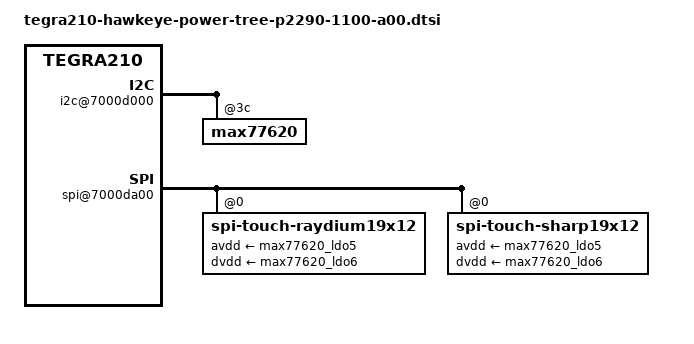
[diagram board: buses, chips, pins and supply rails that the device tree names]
/*
 * Copyright (c) 2014-2015, NVIDIA CORPORATION.  All rights reserved.
 *
 * This program is free software; you can redistribute it and/or modify
 * it under the terms of the GNU General Public License as published by
 * the Free Software Foundation; either version 2 of the License, or
 * (at your option) any later version.
 *
 * This program is distributed in the hope that it will be useful, but WITHOUT
 * ANY WARRANTY; without even the implied warranty of MERCHANTABILITY or
 * FITNESS FOR A PARTICULAR PURPOSE.  See the GNU General Public License for
 * more details.
 */

#include "tegra210-hawkeye-pmic-p2290-1100-a00.dtsi"
#include "tegra210-hawkeye-fixed-p2290-1100-a00.dtsi"
#include "tegra210-ers-power-dvfs-e2174-1101-a00.dtsi"

/ {

	dfll-ovr@70110000 {
		status = "disabled";
	};

	dfll-max77621@70110000 {
		status = "okay";
	};

	pwm_regulators {
		pwm-regulator@0 {
			status = "disabled";
		};

		pwm-regulator@1 {
			status = "disabled";
		};
	};

	i2c@7000d000 {
		max77620@3c {
			regulators {
				ldo0 {
					regulator-enable-ramp-delay = <78>;
					regulator-disable-ramp-delay = <2280>;
					regulator-ramp-delay = <100000>;
					regulator-ramp-delay-scale = <650>;
				};

				ldo2 {
					regulator-enable-ramp-delay = <200>;
					regulator-disable-ramp-delay = <3300>;
					regulator-ramp-delay = <100000>;
					regulator-ramp-delay-scale = <600>;
				};

				ldo3 {
					regulator-enable-ramp-delay = <156>;
					regulator-disable-ramp-delay = <5430>;
					regulator-ramp-delay = <100000>;
					regulator-ramp-delay-scale = <550>;
				};

				ldo4 {
					regulator-enable-ramp-delay = <20>;
					regulator-disable-ramp-delay = <390>;
					regulator-ramp-delay = <100000>;
					regulator-ramp-delay-scale = <200>;
				};

				ldo5 {
					regulator-enable-ramp-delay = <440>;
					regulator-disable-ramp-delay = <7650>;
					regulator-ramp-delay = <100000>;
					regulator-ramp-delay-scale = <1400>;
				};

				ldo6 {
					regulator-enable-ramp-delay = <162>;
					regulator-disable-ramp-delay = <4500>;
					regulator-ramp-delay = <100000>;
					regulator-ramp-delay-scale = <900>;
				};

				ldo7 {
					regulator-enable-ramp-delay = <74>;
					regulator-disable-ramp-delay = <7125>;
					regulator-ramp-delay = <100000>;
					regulator-ramp-delay-scale = <700>;
				};

				ldo8 {
					regulator-enable-ramp-delay = <26>;
					regulator-disable-ramp-delay = <1575>;
					regulator-ramp-delay = <100000>;
					regulator-ramp-delay-scale = <250>;
				};
			};
		};
	};

	regulators {
		regulator@4 {
			regulator-enable-ramp-delay = <1300>;
			regulator-disable-ramp-delay = <2800>;
		};

		regulator@3 {
			regulator-enable-ramp-delay = <160>;
			regulator-disable-ramp-delay = <2000>;
		};

		regulator@5 {
			regulator-enable-ramp-delay = <200>;
			regulator-disable-ramp-delay = <2800>;
		};

		regulator@6 {
			regulator-enable-ramp-delay = <1400>;
		};

		regulator@9 {
			regulator-enable-ramp-delay = <500>;
			regulator-disable-ramp-delay = <4500>;
		};

		regulator@12 {
			regulator-enable-ramp-delay = <200>;
			regulator-disable-ramp-delay = <8000>;
		};

		regulator@13 {
			regulator-enable-ramp-delay = <600>;
			regulator-disable-ramp-delay = <3000>;
		};
	};

	dvfs_rails {
		vdd-cpu-rail-ovr@0 {
			status = "disabled";
		};

		vdd-gpu-rail-ovr@1 {
			status = "disabled";
		};

		vdd-cpu-rail-max77621@2 {
			status = "okay";
		};

		vdd-gpu-rail-max77621@3 {
			status = "okay";
		};
	};

	cpuidle {
		vdd-cpu-supply = <&cpu_max77621_reg>;
		cc4-microvolt = <618750>;
	};

	i2c@546c0000 {
		bus-pullup-supply = <&en_vdd_cam>;
	};

	spi@7000da00 {
		spi-touch-raydium19x12@0 {
			avdd-supply = <&max77620_ldo5>;
			dvdd-supply = <&max77620_ldo6>;
		};
		spi-touch-sharp19x12@0 {
			avdd-supply = <&max77620_ldo5>;
			dvdd-supply = <&max77620_ldo6>;
		};
	};

	xudc@700d0000 {
		hvdd_usb-supply = <&vdd_3v3>;
		avdd_pll_utmip-supply = <&max77620_sd3>;
		avddio_usb-supply = <&vdd_3v3>;
		avddio_pll_uerefe-supply = <&max77620_ldo7>;
	};

	xotg {
		usb_vbus-supply = <&usb0_vbus>;
	};

	usb_cd@7009f000 {
		usb_bat_chg-supply = <&battery_charger>;
	};

	udc@7d000000 {
		avdd_usb-supply = <&vdd_3v3>;
		avdd_pll_utmip-supply = <&max77620_sd3>;
		usb_bat_chg-supply = <&battery_charger>;
	};

	otg@7d000000 {
		usb_vbus-supply = <&usb0_vbus>;
		usb_bat_chg-supply = <&battery_charger>;
	};

	ehci@7d000000 {
		avdd_usb-supply = <&vdd_3v3>;
		avdd_pll_utmip-supply = <&max77620_sd3>;
		usb_vbus-supply = <&usb0_vbus>;
	};

	modem {
		vdd-supply = <&tps61280>;
	};

	sdhci@700b0600 {
		vddio_sdmmc-supply = <&max77620_sd3>; /* SDMMC4 for EMMC on hawkeye */
		vddio_sd_slot-supply = <&vdd_3v3>;
	};

	sdhci@700b0400 {
		vddio_sdmmc-supply = <&max77620_ldo2>; /* SDMMC3 for SD card on hawkeye */
		vddio_sd_slot-supply = <&vdd_sdcard>;
	};

	sdhci@700b0200 {
		vddio_sdmmc-supply = <&max77620_sd3>; /* SDMMC2 for Wifi on hawkeye */
		vddio_sd_slot-supply = <&vdd_3v3>;
	};

	sdhci@700b0000 {
		vddio_sdmmc-supply = <&max77620_sd3>; /* SDMMC1 for 2nd Wifi on hawkeye */
		vddio_sd_slot-supply = <&vdd_3v3>;
	};

	host1x {
		/* tegradc.0 */
		dc@54200000 {
			avdd_dsi_csi-supply = <&mipi_1v2>;
			avdd_lcd-supply = <&vdd_lcd_3v0>;
			dvdd_lcd-supply = <&vdd_lcd_1v8>;
		};

		/* tegradc.1 */
		dc@54240000 {
			avdd_hdmi-supply = <&max77620_ldo8>;
			avdd_hdmi_pll-supply = <&max77620_sd3>;
			vdd_hdmi_5v0-supply = <&vdd_hdmi>;
		};

		vi {
			avdd_dsi_csi-supply = <&mipi_1v2>;
		};

		vii2c {
			avdd_dsi_csi-supply = <&mipi_1v2>;
		};
	};

	bluedroid_pm {
		avdd-supply = <&battery_reg>;
		dvdd-supply = <&max77620_sd3>;
	};

	pmc-iopower {
		iopower-sys-supply = <&max77620_sd3>;
		iopower-uart-supply = <&max77620_sd3>;
		iopower-audio-supply = <&max77620_sd3>;
		iopower-cam-supply = <&max77620_sd3>;
		iopower-pex-ctrl-supply = <&max77620_sd3>;
		iopower-sdmmc1-supply = <&max77620_sd3>;
		iopower-sdmmc3-supply = <&max77620_ldo2>;
		iopower-sdmmc4-supply = <&max77620_sd3>;
		iopower-audio-hv-supply = <&max77620_sd3>;
		iopower-debug-supply = <&max77620_sd3>;
		iopower-dmic-supply = <&max77620_sd3>;
		iopower-gpio-supply = <&max77620_sd3>;
		iopower-spi-supply = <&max77620_sd3>;
		iopower-spi-hv-supply = <&max77620_sd3>;
		iopower-sdmmc2-supply = <&max77620_sd3>;
		iopower-dp-supply = <&max77620_sd3>;
	};

	thermal-zones {
		PMIC-Die-max77621-0 {
			status = "okay";
		};

		PMIC-Die-max77621-1 {
			status = "okay";
		};

                PMIC-Die-tps61280 {
                        status = "okay";
                };
	};

	sound {
		ldoen-supply = <&vdd_sys_boost>;
		spkvdd-supply = <&vdd_sys_boost>;
		dbvdd-supply = <&vdd_sys_boost>;
		avdd-supply = <&vdd_sys_boost>;
		dmicvdd-supply = <&max77620_sd3>;
	};

	pmc@7000e400 {
		bootrom-commands {
			reset-commands {
				nvidia,command-retries-count = <2>;
				nvidia,delay-between-commands-us = <10>;
				nvidia,wait-before-start-bus-clear-us = <10>;
				#address-cells = <1>;
				#size-cells = <0>;
				commands@4-003c {
					nvidia,command-names = "pmic-rails";
					reg = <0x3c>;
					nvidia,enable-8bit-register;
					nvidia,enable-8bit-data;
					nvidia,controller-type-i2c;
					nvidia,controller-id = <4>;
					nvidia,enable-controller-reset;
					nvidia,write-commands = <0x00000016 0x00000020>;
				};
			};
			power-off-commands {
				nvidia,command-retries-count = <2>;
				nvidia,delay-between-commands-us = <10>;
				nvidia,wait-before-start-bus-clear-us = <10>;
				#address-cells = <1>;
				#size-cells = <0>;
				commands@4-003c {
					nvidia,command-names = "pmic-rails";
					reg = <0x3c>;
					nvidia,enable-8bit-register;
					nvidia,enable-8bit-data;
					nvidia,controller-type-i2c;
					nvidia,controller-id = <4>;
					nvidia,enable-controller-reset;
					nvidia,write-commands = <0x3B 0x01
								0x42 0x5B
								0x41 0xF8>;
				};
			};
		};
	};
};
